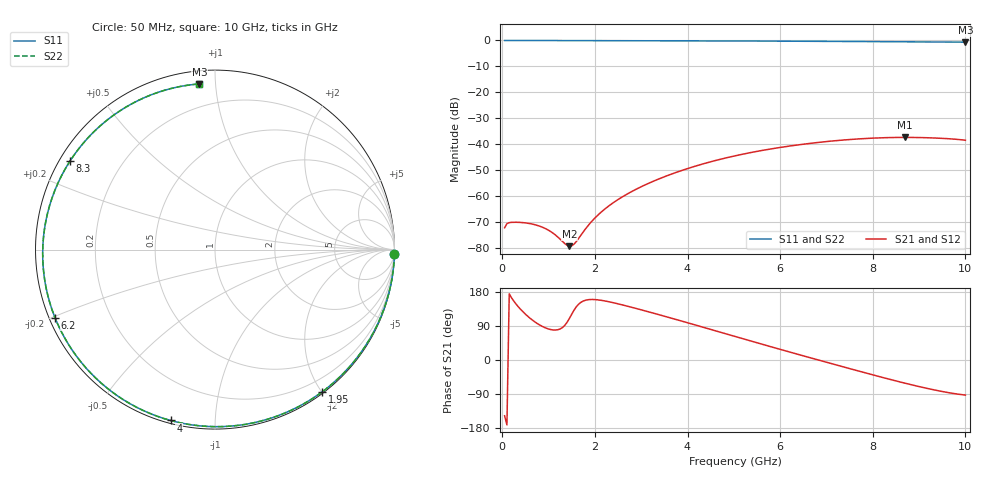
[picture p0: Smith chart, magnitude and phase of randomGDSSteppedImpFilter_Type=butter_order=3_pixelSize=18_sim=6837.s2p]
! freq	dB(S11)	phase(S11)	dB(S12)	phase(S12)
!  dB(S21)	phase(S21)	dB(S22)	phase(S22)
!S-par simulation data
#  GHz  S  DB  R 50
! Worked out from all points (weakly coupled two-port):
!   200 points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, 50 MHz to 10 GHz, reference 50 ohm
!   highest |S21| = -37.34 dB at 8.7 GHz (marker M1); lowest = -79.2 dB at 1.45 GHz (marker M2)
!   lowest |S11| = -0.7 dB at 10 GHz (marker M3), VSWR 26.42, Z = 3.46 + j45.4 ohm
!   |S11| at or under -10 dB: nowhere
!   |S22| runs from -0.7 to 0.0 dB; largest |S21 - S12| = 0
!   S11 on the Smith chart (normalised r, x): 50 MHz: 0, -82; 1.95 GHz: 0.02, -2.00; 4 GHz: 0.01, -0.77; 6.2 GHz: 0.02, -0.20; 8.3 GHz: 0.03, +0.28; 10 GHz: 0.07, +0.91
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0.05  -0.00 -1.4  -72.15 -147.1  -72.15 -147.1  -0.00 -1.4
0.1  -0.00 -2.8  -70.55 -171.3  -70.55 -171.3  -0.00 -2.8
0.2  -0.00 -5.6  -70.06 164.1  -70.06 164.1  -0.00 -5.6
0.75  -0.02 -20.8  -71.20 96.7  -71.20 96.7  -0.02 -20.8
1.05  -0.04 -29.0  -73.67 80.2  -73.67 80.2  -0.04 -29.0
1.45  -0.05 -39.8  -79.24 109.9  -79.24 109.9  -0.05 -39.8
1.55  -0.05 -42.5  -78.43 131.8  -78.43 131.8  -0.05 -42.5
1.75  -0.06 -47.8  -73.69 155.7  -73.69 155.7  -0.06 -47.8
1.95  -0.07 -53.1  -69.32 159.7  -69.32 159.7  -0.07 -53.1
2.2  -0.08 -59.6  -65.13 156.2  -65.13 156.2  -0.08 -59.7
2.55  -0.09 -68.7  -60.70 146.7  -60.70 146.7  -0.09 -68.7
3.4  -0.12 -90.0  -53.20 119.0  -53.20 119.0  -0.12 -90.0
4  -0.14 -104.6  -49.35 98.3  -49.35 98.3  -0.14 -104.6
5.05  -0.20 -129.6  -44.34 61.3  -44.34 61.3  -0.20 -129.6
6.2  -0.28 -157.0  -40.68 21.2  -40.68 21.2  -0.28 -157.0
6.7  -0.32 -169.2  -39.53 4.2  -39.53 4.2  -0.32 -169.2
7.5  -0.39 170.4  -38.16 -22.7  -38.16 -22.7  -0.39 170.4
8.3  -0.48 148.6  -37.43 -48.9  -37.43 -48.9  -0.48 148.6
8.35  -0.48 147.1  -37.41 -50.5  -37.41 -50.5  -0.48 147.1
8.7  -0.52 136.9  -37.34 -61.4  -37.34 -61.4  -0.52 136.9
9.4  -0.60 115.2  -37.62 -80.8  -37.62 -80.8  -0.60 115.2
10  -0.66 95.4  -38.43 -92.6  -38.43 -92.6  -0.66 95.4
